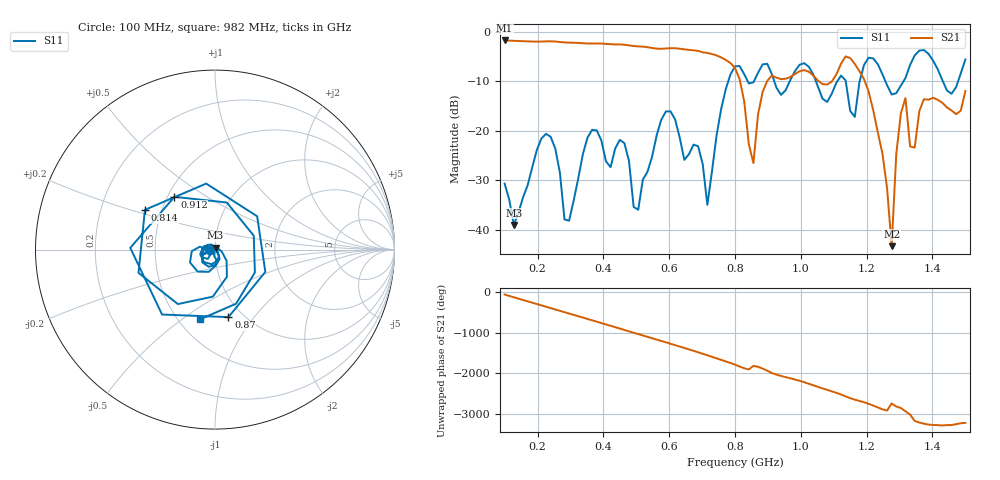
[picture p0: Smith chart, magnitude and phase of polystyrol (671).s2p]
! NanoVNA-App
! Date: 2025-09-25 15:35:06
! Start: 100MHz Stop: 1,5GHz Points: 101
! S-Parameter data: F S11 S21 S12 S22
# Hz S RI R 50
!  Frequency  S11_Real  S11_Imag  S21_Real  S21_Imag  S12_Real  S12_Imag  S22_Real  S22_Imag
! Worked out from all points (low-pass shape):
!   101 points, 100 MHz to 1.5 GHz, reference 50 ohm
!   highest |S21| = -1.80 dB at 100 MHz (marker M1); lowest = -43.3 dB at 1.276 GHz (marker M2)
!   |S21| within 3 dB of the highest: start of sweep to 742.9 MHz
!   lowest |S11| = -39.1 dB at 128 MHz (marker M3), VSWR 1.02, Z = 50.3 + j1.06 ohm
!   |S11| at or under -10 dB: start of sweep to 779.8 MHz; 1.046 GHz to 1.111 GHz (65.74 MHz wide, 6.1 % of centre); 1.257 GHz to 1.312 GHz (55.62 MHz wide, 4.33 % of centre)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
!   S12 and S22 are empty: the file has one direction only
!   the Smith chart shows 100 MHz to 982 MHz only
!   S11 on the Smith chart (normalised r, x): 100 MHz: 0.94, -0.01; 814 MHz: 0.40, +0.22; 870 MHz: 0.85, -0.75; 912 MHz: 0.54, +0.37; 982 MHz: 0.63, -0.59
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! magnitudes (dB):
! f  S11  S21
! 100 MHz  -30.7  -1.8
! 128 MHz  -39.1  -1.9
! 212 MHz  -21.6  -2.0
! 282 MHz  -37.9  -2.2
! 338 MHz  -24.7  -2.4
! 464 MHz  -22.5  -2.7
! 506 MHz  -36.0  -3.0
! 576 MHz  -17.8  -3.5
! 716 MHz  -35.0  -4.3
! 800 MHz  -7.0  -7.4
! 814 MHz  -7.0  -9.6
! 856 MHz  -10.3  -26.6
! 870 MHz  -8.3  -16.8
! 912 MHz  -8.6  -8.9
! 982 MHz  -8.0  -8.6
! 1.038 GHz  -8.7  -8.9
! 1.164 GHz  -17.2  -6.5
! 1.192 GHz  -6.8  -9.6
! 1.276 GHz  -12.7  -43.3
! 1.318 GHz  -9.4  -13.4
! 1.346 GHz  -4.8  -23.4
! 1.5 GHz  -5.6  -12.0
